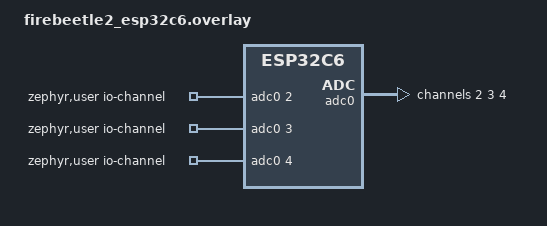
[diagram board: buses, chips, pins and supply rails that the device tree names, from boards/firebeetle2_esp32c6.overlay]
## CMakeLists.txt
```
cmake_minimum_required(VERSION 3.20.0)

list(APPEND BOARD_ROOT ${CMAKE_CURRENT_SOURCE_DIR})
find_package(Zephyr REQUIRED HINTS $ENV{ZEPHYR_BASE})
project(soil_monitoring)

target_sources(app PRIVATE src/main.c src/cap.c)

target_include_directories(app PRIVATE
    ${CMAKE_CURRENT_SOURCE_DIR}/include
)
```

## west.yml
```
manifest:
  self:
    path: soil-monitoring
  remotes:
    - name: zephyrproject-rtos
      url-base: https://github.com/zephyrproject-rtos
  projects:
    - name: zephyr
      remote: zephyrproject-rtos
      revision: v4.1.0
      import: true
```

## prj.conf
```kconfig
# Analog
CONFIG_ADC=y
CONFIG_GPIO=y
CONFIG_LOG=y
```

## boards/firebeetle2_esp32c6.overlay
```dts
/ {
    aliases {
        adc0 = &adc0;
    };

    zephyr,user {
        io-channels = <&adc0 2>, <&adc0 3>, <&adc0 4>;
    };
};

&adc0 {
    #address-cells = <1>;
    #size-cells = <0>;
    status = "okay";

    channel@2 {
        reg = <2>;
        zephyr,gain = "ADC_GAIN_1_4";
        zephyr,reference = "ADC_REF_INTERNAL";
        zephyr,acquisition-time = <ADC_ACQ_TIME_DEFAULT>;
        zephyr,resolution = <12>;
    };

    channel@3 {
        reg = <3>;
        zephyr,gain = "ADC_GAIN_1_4";
        zephyr,reference = "ADC_REF_INTERNAL";
        zephyr,acquisition-time = <ADC_ACQ_TIME_DEFAULT>;
        zephyr,resolution = <12>;
    };

    channel@4 {
        reg = <4>;
        zephyr,gain = "ADC_GAIN_1_4";
        zephyr,reference = "ADC_REF_INTERNAL";
        zephyr,acquisition-time = <ADC_ACQ_TIME_DEFAULT>;
        zephyr,resolution = <12>;
    };
};
```

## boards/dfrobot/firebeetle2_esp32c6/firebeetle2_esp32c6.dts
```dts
/dts-v1/;

#include <espressif/esp32c6/esp32c6_wroom_n4.dtsi>
#include <zephyr/dt-bindings/input/input-event-codes.h>
#include <espressif/partitions_0x0_default.dtsi>

/ {
    model = "firebeetle2_esp32c6";
    compatible = "espressif,esp32c6";

    chosen {
        zephyr,sram = &sramhp;
        zephyr,console = &usb_serial;
        zephyr,flash = &flash0;
        zephyr,code-partition = &slot0_partition;
    };

    aliases {
        sw0 = &user_button1;
        watchdog0 = &wdt0;
    };

    gpio_keys {
        compatible = "gpio-keys";
        user_button1: button_1 {
            label = "User SW1";
            gpios = <&gpio0 9 (GPIO_PULL_UP | GPIO_ACTIVE_LOW)>;
            zephyr,code = <INPUT_KEY_0>;
        };
    };
};

&usb_serial {
    status = "okay";
};

&adc0 {
    status = "okay";
};

&trng0 {
    status = "okay";
};

&gpio0 {
    status = "okay";
};

&wdt0 {
    status = "okay";
};
```

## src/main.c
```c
#include <zephyr/kernel.h>
#include <zephyr/logging/log.h>

#include "cap.h"

LOG_MODULE_REGISTER(soil, LOG_LEVEL_INF);

int main(void) {
    int err = cap_init();
    if (err != 0) {
        return 1;
    }

    cap_read();

    return 0;
}
```

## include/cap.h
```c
#ifndef CAP_H
#define CAP_H

int cap_init(void);
int cap_read(void);
#endif
```

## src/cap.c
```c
#include "cap.h"

#include <zephyr/device.h>
#include <zephyr/devicetree.h>
#include <zephyr/drivers/adc.h>
#include <zephyr/logging/log.h>

LOG_MODULE_REGISTER(cap, LOG_LEVEL_INF);

#if !DT_NODE_EXISTS(DT_PATH(zephyr_user)) || \
    !DT_NODE_HAS_PROP(DT_PATH(zephyr_user), io_channels)
#error "No suitable devicetree overlay specified"
#endif

#define ADC_DT_SPEC(node_id, prop, idx)                            \
    COND_CODE_1(DT_PHA_HAS_CELL_AT_IDX(node_id, prop, idx, input), \
                (ADC_DT_SPEC_GET_BY_IDX(node_id, idx), ), ())

static const struct adc_dt_spec chans[] = {
    DT_FOREACH_PROP_ELEM(DT_PATH(zephyr_user), io_channels, ADC_DT_SPEC)};

static const int chan_cnt = ARRAY_SIZE(chans);

int cap_init(void) {
    for (size_t i = 0; i < chan_cnt; i++) {
        if (!adc_is_ready_dt(&chans[i])) {
            LOG_ERR("Channel not ready: %d", i);
            return -ENODEV;
        }

        int err = adc_channel_setup_dt(&chans[i]);
        if (err != 0) {
            LOG_ERR("Could not setup channel: %d", i);
            return err;
        }
    }

    return 0;
}

int cap_read(void) {
    int err;
    uint16_t buf = 0;
    struct adc_sequence seq = {
        .buffer = &buf,
        .buffer_size = sizeof(buf),
    };

#ifndef CONFIG_COVERAGE
    while (1) {
#else
    for (size_t i = 0; i < 10; i++) {
#endif
        for (size_t i = 0U; i < chan_cnt; i++) {
            int32_t val;

            /* Clear buffer */
            buf = 0;

            (void)adc_sequence_init_dt(&chans[i], &seq);

            err = adc_read_dt(&chans[i], &seq);
            if (err != 0) {
                LOG_ERR("Could not read channel: %d", i);
                continue;
            }

            if (chans[i].channel_cfg.differential) {
                val = (int32_t)(int16_t)buf;
            } else {
                val = (int32_t)buf;
            }

            err = adc_raw_to_millivolts_dt(&chans[i], &val);
            if (err != 0) {
                LOG_ERR("Value not available in mV");
            }

            LOG_INF("Channel: %d    mV: %" PRId32 "", i, val);
        }

        k_msleep(500);
    }
}
```
